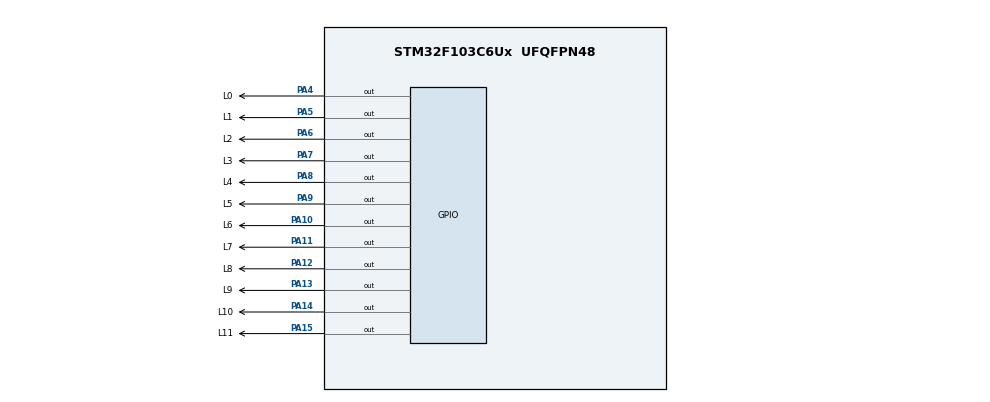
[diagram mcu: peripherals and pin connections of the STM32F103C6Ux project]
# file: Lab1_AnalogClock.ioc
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Mcu.Family=STM32F1
Mcu.Name=STM32F103C6Ux
Mcu.Package=UFQFPN48
NVIC.PriorityGroup=NVIC_PRIORITYGROUP_4
PA10.GPIO_Label=L6
PA10.Signal=GPIO_Output
PA11.GPIO_Label=L7
PA11.Signal=GPIO_Output
PA12.GPIO_Label=L8
PA12.Signal=GPIO_Output
PA13.GPIO_Label=L9
PA13.Signal=GPIO_Output
PA14.GPIO_Label=L10
PA14.Signal=GPIO_Output
PA15.GPIO_Label=L11
PA15.Signal=GPIO_Output
PA4.GPIO_Label=L0
PA4.Signal=GPIO_Output
PA5.GPIO_Label=L1
PA5.Signal=GPIO_Output
PA6.GPIO_Label=L2
PA6.Signal=GPIO_Output
PA7.GPIO_Label=L3
PA7.Signal=GPIO_Output
PA8.GPIO_Label=L4
PA8.Signal=GPIO_Output
PA9.GPIO_Label=L5
PA9.Signal=GPIO_Output
ProjectManager.HeapSize=0x200
ProjectManager.StackSize=0x400
ProjectManager.TargetToolchain=STM32CubeIDE
RCC.APB1Freq_Value=8000000
RCC.APB2Freq_Value=8000000
VP_SYS_VS_ND.Mode=No_Debug
board=custom

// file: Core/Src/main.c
/* USER CODE BEGIN Header */
/**
  ******************************************************************************
  * @file           : main.c
  * @brief          : Main program body
  ******************************************************************************
  * @attention
  *
  * <h2><center>&copy; Copyright (c) 2026 STMicroelectronics.
  * All rights reserved.</center></h2>
  *
  * This software component is licensed by ST under BSD 3-Clause license,
  * the "License"; You may not use this file except in compliance with the
  * License. You may obtain a copy of the License at:
  *                        opensource.org/licenses/BSD-3-Clause
  *
  ******************************************************************************
  */
/* USER CODE END Header */
#include "main.h"

void SystemClock_Config(void);
static void MX_GPIO_Init(void);

/* USER CODE BEGIN 0 */
uint16_t clock_leds[12] = {L0_Pin, L1_Pin, L2_Pin, L3_Pin, L4_Pin, L5_Pin, L6_Pin, L7_Pin, L8_Pin, L9_Pin, L10_Pin, L11_Pin};

// --- EXERCISE 7 ---
void clearAllClock() {
    for(int i = 0; i < 12; i++) {
        HAL_GPIO_WritePin(GPIOA, clock_leds[i], GPIO_PIN_SET);
    }
}

// --- EXERCISE 8 ---
void setNumberOnClock(int num) {
    if (num >= 0 && num <= 11) {
        HAL_GPIO_WritePin(GPIOA, clock_leds[num], GPIO_PIN_RESET);
    }
}

// --- EXERCISE 9 ---
void clearNumberOnClock(int num) {
    if (num >= 0 && num <= 11) {
        HAL_GPIO_WritePin(GPIOA, clock_leds[num], GPIO_PIN_SET);
    }
}
/* USER CODE END 0 */
int main(void)
{
	/* USER CODE BEGIN 1 */
	  int hour = 0;
	  int minute = 0;
	  int second = 0;
	/* USER CODE END 1 */

  /* MCU Configuration--------------------------------------------------------*/

  /* Reset of all peripherals, Initializes the Flash interface and the Systick. */
  HAL_Init();

  /* Configure the system clock */
  SystemClock_Config();

  /* Initialize all configured peripherals */
  MX_GPIO_Init();
  /* USER CODE BEGIN 2 */
    // Reset LED status before entering the main loop
    clearAllClock();
  /* USER CODE END 2 */

    /* Infinite loop */
      while (1)
      {

        /* USER CODE BEGIN 3 */

        // --- EXERCISE 6 ---
        /*
        for(int i = 0; i < 12; i++) {
            HAL_GPIO_WritePin(GPIOA, clock_leds[i], GPIO_PIN_RESET); // Bật LED thứ i
            HAL_Delay(100);                                          // Sáng trong 0.1s
            HAL_GPIO_WritePin(GPIOA, clock_leds[i], GPIO_PIN_SET);   // Tắt LED thứ i
        }
        */

        // --- EXERCISE 10 ---

        // 1. Xóa sạch mặt đồng hồ cũ
        clearAllClock();

        // 2. Bật đèn hiển thị Giờ, Phút, Giây
        setNumberOnClock(hour);
        setNumberOnClock(minute / 5);
        setNumberOnClock(second / 5);

        // 3. Chờ 1 khoảng thời gian (10ms để Proteus chạy nhanh)
        HAL_Delay(10);

        // 4. Cập nhật thời gian cho chu kỳ tiếp theo
        second++;
        if (second >= 60) {
            second = 0;
            minute++;
        }
        if (minute >= 60) {
            minute = 0;
            hour++;
        }
        if (hour >= 12) {
            hour = 0;
        }

      }
      /* USER CODE END 3 */
}

void SystemClock_Config(void)
{
  RCC_OscInitTypeDef RCC_OscInitStruct = {0};
  RCC_ClkInitTypeDef RCC_ClkInitStruct = {0};

  /** Initializes the RCC Oscillators according to the specified parameters
  * in the RCC_OscInitTypeDef structure.
  */
  RCC_OscInitStruct.OscillatorType = RCC_OSCILLATORTYPE_HSI;
  RCC_OscInitStruct.HSIState = RCC_HSI_ON;
  RCC_OscInitStruct.HSICalibrationValue = RCC_HSICALIBRATION_DEFAULT;
  RCC_OscInitStruct.PLL.PLLState = RCC_PLL_NONE;
  if (HAL_RCC_OscConfig(&RCC_OscInitStruct) != HAL_OK)
  {
    Error_Handler();
  }
  /** Initializes the CPU, AHB and APB buses clocks
  */
  RCC_ClkInitStruct.ClockType = RCC_CLOCKTYPE_HCLK|RCC_CLOCKTYPE_SYSCLK
                              |RCC_CLOCKTYPE_PCLK1|RCC_CLOCKTYPE_PCLK2;
  RCC_ClkInitStruct.SYSCLKSource = RCC_SYSCLKSOURCE_HSI;
  RCC_ClkInitStruct.AHBCLKDivider = RCC_SYSCLK_DIV1;
  RCC_ClkInitStruct.APB1CLKDivider = RCC_HCLK_DIV1;
  RCC_ClkInitStruct.APB2CLKDivider = RCC_HCLK_DIV1;

  if (HAL_RCC_ClockConfig(&RCC_ClkInitStruct, FLASH_LATENCY_0) != HAL_OK)
  {
    Error_Handler();
  }
}

static void MX_GPIO_Init(void)
{
  GPIO_InitTypeDef GPIO_InitStruct = {0};

  /* GPIO Ports Clock Enable */
  __HAL_RCC_GPIOA_CLK_ENABLE();

  /*Configure GPIO pin Output Level */
  HAL_GPIO_WritePin(GPIOA, L0_Pin|L1_Pin|L2_Pin|L3_Pin
                          |L4_Pin|L5_Pin|L6_Pin|L7_Pin
                          |L8_Pin|L9_Pin|L10_Pin|L11_Pin, GPIO_PIN_RESET);

  /*Configure GPIO pins : L0_Pin L1_Pin L2_Pin L3_Pin
                           L4_Pin L5_Pin L6_Pin L7_Pin
                           L8_Pin L9_Pin L10_Pin L11_Pin */
  GPIO_InitStruct.Pin = L0_Pin|L1_Pin|L2_Pin|L3_Pin
                          |L4_Pin|L5_Pin|L6_Pin|L7_Pin
                          |L8_Pin|L9_Pin|L10_Pin|L11_Pin;
  GPIO_InitStruct.Mode = GPIO_MODE_OUTPUT_PP;
  GPIO_InitStruct.Pull = GPIO_NOPULL;
  GPIO_InitStruct.Speed = GPIO_SPEED_FREQ_LOW;
  HAL_GPIO_Init(GPIOA, &GPIO_InitStruct);

}

void Error_Handler(void)
{
  __disable_irq();
  while (1)
  {
  }
}

/************************ (C) COPYRIGHT STMicroelectronics *****END OF FILE****/
